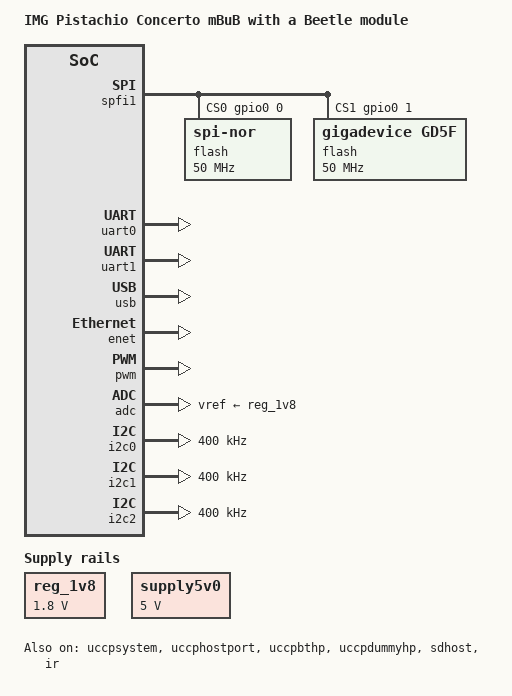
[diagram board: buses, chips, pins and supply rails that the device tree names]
/*
 * Copyright (C) 2015 Imagination Technologies Ltd.
 * Copyright (C) 2015 Google, Inc.
 *
 * This program is free software; you can redistribute it and/or modify
 * it under the terms of the GNU General Public License version 2 as
 * published by the Free Software Foundation.
 */

/dts-v1/;

#include "pistachio_beetle.dtsi"
#include <dt-bindings/sound/pistachio-bub-audio.h>

/ {
	model = "IMG Pistachio Concerto mBuB with a Beetle module";
	compatible = "img,pistachio-bub", "img,pistachio";

	aliases {
		console ="/uart@18101500";
		serial0 = &uart0;
		serial1 = &uart1;
	};

	chosen {
		bootargs = "console=ttyS1,115200n8 earlycon=uart8250,mmio32,0x18101500,115200 root=/dev/sda1 rootwait ro";
		stdout-path = &uart1;
	};

	reg_1v8: fixed-regulator {
		compatible = "regulator-fixed";
		regulator-name = "aux_adc_vref";
		regulator-min-microvolt = <1800000>;
		regulator-max-microvolt = <1800000>;
		regulator-boot-on;
	};

	supply5v0: supply5v0@0 {
		compatible = "regulator-fixed";
		regulator-name = "5V-supply";
		regulator-min-microvolt = <5000000>;
		regulator-max-microvolt = <5000000>;
	};

	pistachio_audio_card {
		compatible = "img,pistachio-bub-audio";

		clocks = <&clk_core CLK_AUDIO_PLL>,
			 <&clk_core CLK_I2S_DIV>,
			 <&clk_core CLK_AUDIO>,
			 <&event_timer>;
		clock-names = "audio_pll", "i2s_mclk", "dac_clk", "evt_clk";

		img,daughterboard = <PISTACHIO_DAUGHTERBOARD_NONE>;
		img,mclk = <PISTACHIO_MCLK_I2S>;
		img,cr-periph = <&cr_periph>;
		img,cr-top = <&cr_top>;
		img,event-timer = <&event_timer>;

		pinctrl-names = "default";
		pinctrl-0 = <&i2s_mclk_pin>;

		spdif-out {
			cpu-dai = <&spdif_out>;
		};

		spdif-in {
			cpu-dai = <&spdif_in>;
		};

		parallel-out {
			cpu-dai = <&parallel_out>;
		};

		i2s-out {
			cpu-dai = <&i2s_out>;
			cpu-format = "i2s";
			clock-master = <&i2s_out>;
		};

		i2s-in {
			cpu-dai = <&i2s_in>;
			cpu-format = "i2s";
		};
	};

};

&spfi1 {
	status = "okay";

	pinctrl-0 = <&spim1_pins>, <&spim1_quad_pins>;
	pinctrl-names = "default";
	cs-gpios = <&gpio0 0 GPIO_ACTIVE_HIGH>, <&gpio0 1 GPIO_ACTIVE_HIGH>;

	flash@0 {
		compatible = "jedec,spi-nor";
		reg = <0>;
		spi-max-frequency = <50000000>;
	};

	flash@1 {
		compatible = "gigadevice,gd5f";
		reg = <1>;
		spi-max-frequency = <50000000>;
		nand-on-flash-bbt;
		#address-cells = <1>;
		#size-cells = <1>;
	};
};

&uccpsystem {
	status = "okay";
};

&uccphostport {
	status = "okay";
};

&uccpbthp {
	status = "okay";
};

&uccpdummyhp {
	status = "okay";
};

&uart0 {
	status = "okay";
};

&uart1 {
	status = "okay";
};

&usb {
	status = "okay";
};

&enet {
	status = "okay";

	mac-address = [0123456789AB];
};

&sdhost {
	status = "okay";

	bus-width = <4>;
	disable-wp;
};

&ir {
	status = "okay";
};

&pwm {
	status = "okay";

	pinctrl-0 = <&pwmpdm0_pin>, <&pwmpdm1_pin>, <&pwmpdm2_pin>,
		    <&pwmpdm3_pin>;
	pinctrl-names = "default";
};

&adc {
	status = "okay";
	vref-supply = <&reg_1v8>;
};

&i2c0 {
	status = "okay";
	clock-frequency = <400000>;
};

&i2c1 {
	status = "okay";
	clock-frequency = <400000>;
};

&i2c2 {
	status = "okay";
	clock-frequency = <400000>;
};

&i2s_out {
	status = "okay";
};

&i2s_in {
	status = "okay";
};

&spdif_out {
	status = "okay";
};

&spdif_in {
	status = "okay";
};

&parallel_out {
	status = "okay";
};
